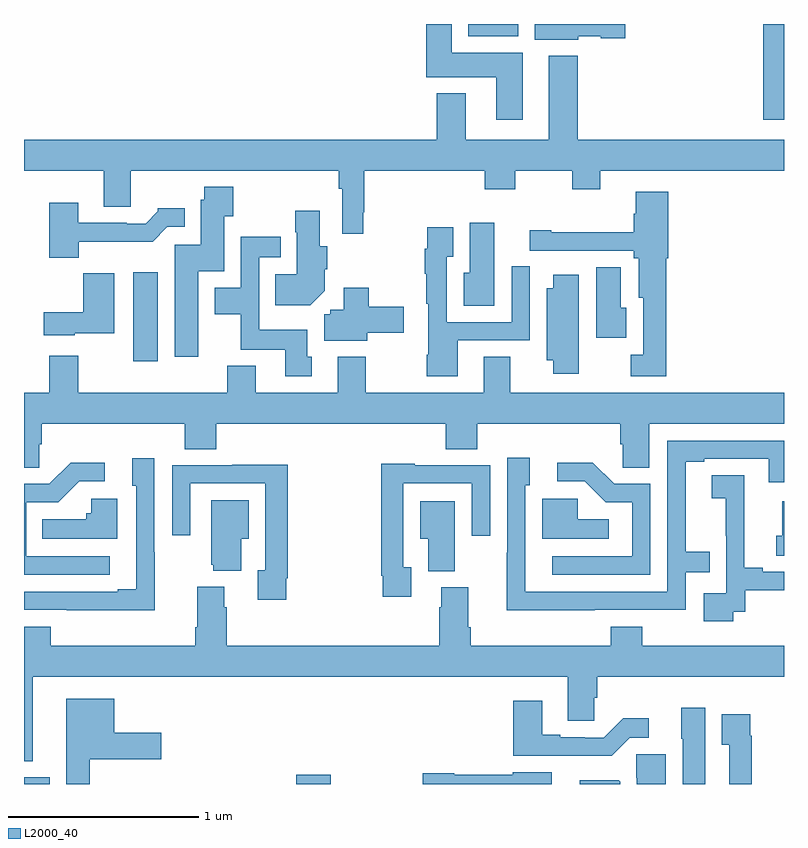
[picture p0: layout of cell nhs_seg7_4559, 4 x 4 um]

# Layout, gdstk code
import gdstk
lib = gdstk.Library(unit=1e-6, precision=1e-09)
def R(c, l, rs):  # rectangles x0, y0, x1, y1
    for r in rs: c.add(gdstk.rectangle(r[:2], r[2:], *l))
def P(c, l, *ps):  # polygons
    for p in ps: c.add(gdstk.Polygon(p, *l))
L2000_40 = (2000, 40)

nhs_seg7_4559 = lib.new_cell('nhs_seg7_4559')
R(nhs_seg7_4559, L2000_40, [(397,1052,397.135,1052.035), (398.432,1052,398.615,1052.05), (397.574,1054.224,397.705,1054.693), (400.892,1055.496,401,1056), (399.338,1055.936,399.601,1056)])
P(nhs_seg7_4559, L2000_40, [(399.918,1055.936),(400.035,1055.936),(400.035,1055.924),(400.165,1055.924),(400.165,1056),(399.689,1056),(399.689,1055.918),(399.918,1055.918)],
  [(399.625,1055.848),(399.25,1055.848),(399.25,1056),(399.116,1056),(399.116,1055.72),(399.485,1055.72),(399.485,1055.496),(399.625,1055.496)],
  [(399.914,1055.833),(399.761,1055.833),(399.761,1055.392),(399.325,1055.392),(399.325,1055.635),(399.173,1055.635),(399.173,1055.392),(397,1055.392),(397,1055.228),(397.421,1055.228),(397.421,1055.038),(397.561,1055.038),(397.561,1055.228),(398.656,1055.228),(398.656,1055.132),(398.676,1055.132),(398.676,1054.896),(398.785,1054.896),(398.785,1055.008),(398.792,1055.008),(398.792,1055.228),(399.425,1055.228),(399.425,1055.129),(399.585,1055.129),(399.585,1055.228),(399.886,1055.228),(399.886,1055.129),(400.033,1055.129),(400.033,1055.228),(401,1055.228),(401,1055.392),(399.914,1055.392)],
  [(397.918,1054.7),(398.053,1054.7),(398.053,1054.987),(398.1,1054.987),(398.1,1055.143),(397.948,1055.143),(397.948,1055.076),(397.931,1055.076),(397.931,1054.839),(397.793,1054.839),(397.793,1054.248),(397.918,1054.248)],
  [(400.381,1054.767),(400.391,1054.767),(400.391,1055.116),(400.22,1055.116),(400.22,1055.001),(400.208,1055.001),(400.208,1054.905),(399.775,1054.905),(399.775,1054.915),(399.663,1054.915),(399.663,1054.806),(400.208,1054.806),(400.208,1054.767),(400.235,1054.767),(400.235,1054.56),(400.259,1054.56),(400.259,1054.258),(400.194,1054.258),(400.194,1054.145),(400.381,1054.145)],
  [(397.288,1054.854),(397.677,1054.854),(397.755,1054.932),(397.846,1054.932),(397.846,1055.029),(397.704,1055.029),(397.704,1055.014),(397.64,1054.95),(397.541,1054.95),(397.541,1054.953),(397.285,1054.953),(397.285,1055.059),(397.133,1055.059),(397.133,1054.769),(397.288,1054.769)],
  [(398.584,1054.597),(398.584,1054.708),(398.597,1054.708),(398.597,1054.83),(398.557,1054.83),(398.557,1055.017),(398.428,1055.017),(398.428,1054.904),(398.435,1054.904),(398.435,1054.684),(398.323,1054.684),(398.323,1054.52),(398.507,1054.52)],
  [(399.475,1054.954),(399.347,1054.954),(399.347,1054.69),(399.314,1054.69),(399.314,1054.516),(399.475,1054.516)],
  [(399.283,1054.335),(399.663,1054.335),(399.663,1054.725),(399.567,1054.725),(399.567,1054.431),(399.225,1054.431),(399.225,1054.774),(399.259,1054.774),(399.259,1054.93),(399.122,1054.93),(399.122,1054.817),(399.109,1054.817),(399.109,1054.685),(399.117,1054.685),(399.117,1054.528),(399.128,1054.528),(399.128,1054.258),(399.121,1054.258),(399.121,1054.146),(399.283,1054.146)],
  [(398.515,1054.248),(398.491,1054.248),(398.491,1054.39),(398.238,1054.39),(398.238,1054.773),(398.35,1054.773),(398.35,1054.881),(398.142,1054.881),(398.142,1054.612),(398.003,1054.612),(398.003,1054.472),(398.14,1054.472),(398.14,1054.286),(398.375,1054.286),(398.375,1054.146),(398.515,1054.146)],
  [(400.171,1054.506),(400.141,1054.506),(400.141,1054.721),(400.013,1054.721),(400.013,1054.35),(400.171,1054.35)],
  [(397.266,1054.373),(397.474,1054.373),(397.474,1054.687),(397.312,1054.687),(397.312,1054.483),(397.104,1054.483),(397.104,1054.361),(397.266,1054.361)],
  [(399.919,1054.681),(399.785,1054.681),(399.785,1054.609),(399.752,1054.609),(399.752,1054.229),(399.785,1054.229),(399.785,1054.158),(399.919,1054.158)],
  [(398.806,1054.376),(398.998,1054.376),(398.998,1054.511),(398.814,1054.511),(398.814,1054.612),(398.684,1054.612),(398.684,1054.497),(398.613,1054.497),(398.613,1054.472),(398.58,1054.472),(398.58,1054.334),(398.806,1054.334)],
  [(397,1053.664),(397.08,1053.664),(397.08,1053.787),(397.094,1053.787),(397.094,1053.896),(397.847,1053.896),(397.847,1053.763),(398.012,1053.763),(398.012,1053.896),(399.221,1053.896),(399.221,1053.763),(399.386,1053.763),(399.386,1053.896),(400.139,1053.896),(400.139,1053.787),(400.152,1053.787),(400.152,1053.664),(400.291,1053.664),(400.291,1053.896),(401,1053.896),(401,1054.06),(399.559,1054.06),(399.559,1054.25),(399.419,1054.25),(399.419,1054.06),(398.799,1054.06),(398.799,1054.249),(398.651,1054.249),(398.651,1054.06),(398.221,1054.06),(398.221,1054.201),(398.069,1054.201),(398.069,1054.06),(397.285,1054.06),(397.285,1054.255),(397.133,1054.255),(397.133,1054.06),(397,1054.06)],
  [(400.004,1052.916),(400.482,1052.916),(400.482,1053.114),(400.61,1053.114),(400.61,1053.223),(400.483,1053.223),(400.483,1053.696),(400.579,1053.696),(400.579,1053.711),(400.92,1053.711),(400.92,1053.588),(401,1053.588),(401,1053.807),(400.386,1053.807),(400.386,1053.012),(399.639,1053.012),(399.639,1053.573),(399.661,1053.573),(399.661,1053.718),(399.543,1053.718),(399.543,1053.218),(399.542,1053.218),(399.542,1052.915),(400.004,1052.915)],
  [(397.689,1053.221),(397.686,1053.221),(397.686,1053.715),(397.571,1053.715),(397.571,1053.57),(397.59,1053.57),(397.59,1053.025),(397.493,1053.025),(397.493,1053.012),(397,1053.012),(397,1052.916),(397.225,1052.916),(397.225,1052.915),(397.689,1052.915)],
  [(400.296,1053.579),(400.107,1053.579),(399.994,1053.692),(399.807,1053.692),(399.807,1053.594),(399.951,1053.594),(400.062,1053.483),(400.2,1053.483),(400.2,1053.198),(399.78,1053.198),(399.78,1053.102),(400.296,1053.102)],
  [(397.45,1053.198),(397.011,1053.198),(397.011,1053.483),(397.18,1053.483),(397.291,1053.594),(397.426,1053.594),(397.426,1053.692),(397.247,1053.692),(397.134,1053.579),(397,1053.579),(397,1053.102),(397.45,1053.102)],
  [(399.037,1053.141),(398.997,1053.141),(398.997,1053.582),(399.357,1053.582),(399.357,1053.306),(399.453,1053.306),(399.453,1053.678),(399.057,1053.678),(399.057,1053.685),(398.881,1053.685),(398.881,1053.097),(398.889,1053.097),(398.889,1052.985),(399.037,1052.985)],
  [(398.38,1053.082),(398.387,1053.082),(398.387,1053.68),(398.095,1053.68),(398.095,1053.678),(397.779,1053.678),(397.779,1053.309),(397.875,1053.309),(397.875,1053.582),(398.271,1053.582),(398.271,1053.126),(398.231,1053.126),(398.231,1052.97),(398.38,1052.97)],
  [(400.734,1052.907),(400.796,1052.907),(400.796,1053.021),(401,1053.021),(401,1053.117),(400.888,1053.117),(400.888,1053.137),(400.792,1053.137),(400.792,1053.515),(400.79,1053.515),(400.79,1053.626),(400.62,1053.626),(400.62,1053.505),(400.694,1053.505),(400.694,1053.307),(400.695,1053.307),(400.695,1053.003),(400.578,1053.003),(400.578,1052.856),(400.734,1052.856)],
  [(397.492,1053.502),(397.353,1053.502),(397.353,1053.426),(397.327,1053.426),(397.327,1053.394),(397.096,1053.394),(397.096,1053.29),(397.492,1053.29)],
  [(400.078,1053.394),(399.915,1053.394),(399.915,1053.501),(399.728,1053.501),(399.728,1053.29),(400.078,1053.29)],
  [(398.143,1053.29),(398.182,1053.29),(398.182,1053.493),(397.985,1053.493),(397.985,1053.153),(397.997,1053.153),(397.997,1053.122),(398.143,1053.122)],
  [(401,1053.489),(400.991,1053.489),(400.991,1053.306),(400.958,1053.306),(400.958,1053.202),(401,1053.202)],
  [(399.268,1053.487),(399.086,1053.487),(399.086,1053.29),(399.128,1053.29),(399.128,1053.121),(399.268,1053.121)],
  [(397.045,1052.564),(399.863,1052.564),(399.863,1052.332),(400.002,1052.332),(400.002,1052.454),(400.016,1052.454),(400.016,1052.564),(401,1052.564),(401,1052.728),(400.253,1052.728),(400.253,1052.827),(400.088,1052.827),(400.088,1052.728),(399.35,1052.728),(399.35,1052.824),(399.337,1052.824),(399.337,1053.036),(399.197,1053.036),(399.197,1052.93),(399.185,1052.93),(399.185,1052.728),(398.066,1052.728),(398.066,1052.93),(398.053,1052.93),(398.053,1053.037),(397.913,1053.037),(397.913,1052.824),(397.901,1052.824),(397.901,1052.728),(397.142,1052.728),(397.142,1052.827),(397,1052.827),(397,1052.12),(397.045,1052.12)],
  [(397.345,1052.129),(397.723,1052.129),(397.723,1052.271),(397.474,1052.271),(397.474,1052.449),(397.223,1052.449),(397.223,1052),(397.345,1052)],
  [(400.188,1052.244),(400.288,1052.244),(400.288,1052.347),(400.153,1052.347),(400.05,1052.244),(399.95,1052.244),(399.95,1052.247),(399.823,1052.247),(399.823,1052.26),(399.727,1052.26),(399.727,1052.437),(399.575,1052.437),(399.575,1052.15),(400.093,1052.15)],
  [(400.585,1052.401),(400.46,1052.401),(400.46,1052.238),(400.466,1052.238),(400.466,1052),(400.585,1052)],
  [(400.829,1052.255),(400.822,1052.255),(400.822,1052.368),(400.673,1052.368),(400.673,1052.207),(400.713,1052.207),(400.713,1052),(400.829,1052)],
  [(400.378,1052.157),(400.222,1052.157),(400.222,1052.034),(400.226,1052.034),(400.226,1052),(400.378,1052)],
  [(399.778,1052.062),(399.572,1052.062),(399.572,1052.048),(399.264,1052.048),(399.264,1052.056),(399.098,1052.056),(399.098,1052),(399.778,1052)],
  [(400.138,1052.012),(400.13,1052.02),(399.926,1052.02),(399.926,1052),(400.138,1052)])

lib.write_gds('nhs_seg7_4559.gds')
